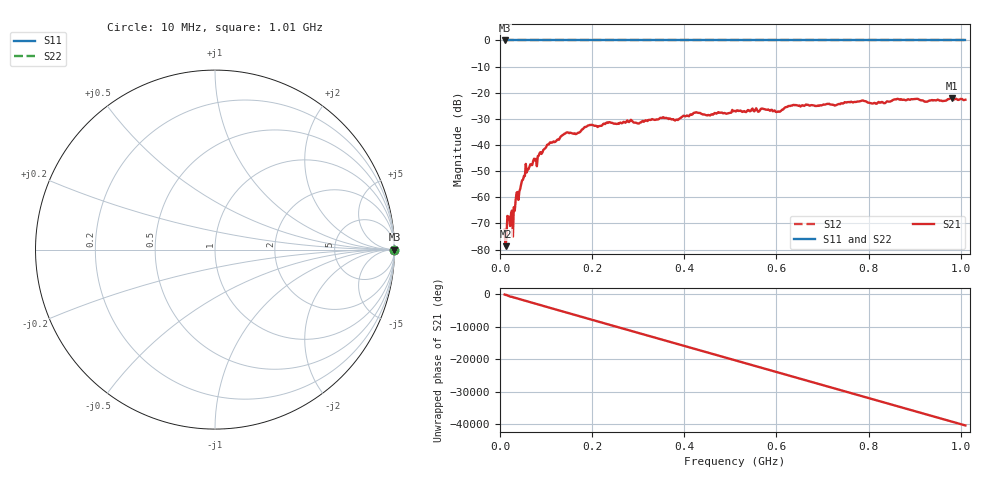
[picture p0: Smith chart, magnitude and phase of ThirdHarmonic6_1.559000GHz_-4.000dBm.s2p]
! 8/16/2025 6:30:56 PM
! C:\ANRITSUVNA\TEMP\TEMP.S2P
! CHANNEL.1
! TR.MEASUREMENT
! RAW.DATA
! RF.CORRECTION.OFF
! AVERAGING.OFF
! IF.BANDWIDTH: 5KHZ
! SWEEPTYPE:  FREQ.SWEEP(Linear)
! Reference Plane Port Info
! PORT:  PORT1  PORT2
! DISTANCE:  0  m  0  m
! TIME:  0  s  0  s
! PHASE.OFFSET:  0  deg.  0  deg.
! LOSS:  0  dB  0  dB
! REF.LOSS:  0  dB  0  dB
! REF.FREQ:  0  Hz  0  Hz
! Power Info
! POWER:  -20  dBm  -20  dBm
! EFF.POWER:  -20  dBm  -20  dBm
! SOURCE.ATTEN:  0  dB  0  dB
! TEST.ATTEN:  0  dB  0  dB
# GHZ S RI R 50.0
! FREQ.GHZ  S11RE  S11IM  S21RE  S21IM  S12RE  S12IM  S22RE  S22IM
!; PortSelection: Port_12
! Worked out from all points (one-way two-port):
!   501 points, 10 MHz to 1.01 GHz, reference 50 ohm
!   highest |S21| = -22.11 dB at 980 MHz (marker M1); lowest = -78.7 dB at 12 MHz (marker M2)
!   lowest |S11| = 0.0 dB at 10 MHz (marker M3)
!   |S11| at or under -10 dB: nowhere
!   |S22| runs from 0.0 to 0.0 dB; largest |S21 - S12| = 1.1
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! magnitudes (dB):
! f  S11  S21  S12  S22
! 10 MHz  0.0  -72.5  0.0  0.0
! 12 MHz  0.0  -78.7  0.0  0.0
! 20 MHz  0.0  -67.5  0.0  0.0
! 26 MHz  0.0  -65.1  0.0  0.0
! 32 MHz  0.0  -65.1  0.0  0.0
! 34 MHz  0.0  -61.0  0.0  0.0
! 52 MHz  0.0  -51.8  0.0  0.0
! 60 MHz  0.0  -49.3  0.0  0.0
! 106 MHz  0.0  -39.8  0.0  0.0
! 142 MHz  0.0  -35.6  0.0  0.0
! 178 MHz  0.0  -34.0  0.0  0.0
! 196 MHz  0.0  -32.3  0.0  0.0
! 344 MHz  0.0  -30.2  0.0  0.0
! 382 MHz  0.0  -30.3  0.0  0.0
! 424 MHz  0.0  -27.6  0.0  0.0
! 510 MHz  0.0  -27.0  0.0  0.0
! 604 MHz  0.0  -27.1  0.0  0.0
! 634 MHz  0.0  -24.9  0.0  0.0
! 678 MHz  0.0  -24.8  0.0  0.0
! 844 MHz  0.0  -23.4  0.0  0.0
! 980 MHz  0.0  -22.1  0.0  0.0
! 1.01 GHz  0.0  -22.7  0.0  0.0
